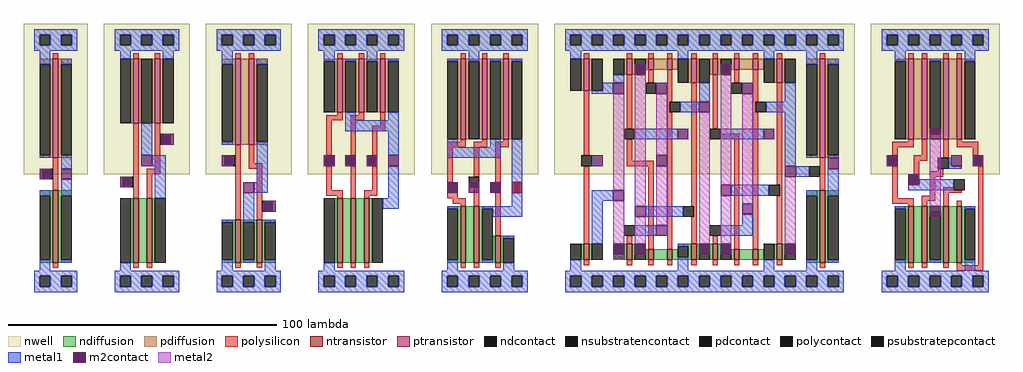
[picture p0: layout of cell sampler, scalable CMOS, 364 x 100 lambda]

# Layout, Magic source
magic
tech scmos
use inv_4x  inv_4x_0
transform 1 0 0 0 1 4
box -6 -4 18 96
use nand2_2x  nand2_2x_0
transform 1 0 30 0 1 4
box -6 -4 26 96
use nor2_2x  nor2_2x_0
transform 1 0 68 0 1 4
box -6 -4 26 96
use nand3_1_5x  nand3_1_5x_0
transform 1 0 106 0 1 4
box -6 -4 34 96
use a2o1i_1_5x  a2o1i_1_5x_0
transform 1 0 150 0 1 4
box -4 -4 36 96
use flop_dp_4x  flop_dp_4x_0
transform 1 0 158 0 1 4
box 34 -4 146 96
use mux2i_dp_1_5x  mux2i_dp_1_5x_0
transform 1 0 316 0 1 4
box -6 -4 42 96
<< end >>

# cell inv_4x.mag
magic
tech scmos
<< nwell >>
rect -6 40 18 96
<< ntransistor >>
rect 5 7 7 34
<< ptransistor >>
rect 5 46 7 83
<< ndiffusion >>
rect 0 32 5 34
rect 4 8 5 32
rect 0 7 5 8
rect 7 32 12 34
rect 7 8 8 32
rect 7 7 12 8
<< pdiffusion >>
rect 0 81 5 83
rect 4 47 5 81
rect 0 46 5 47
rect 7 81 12 83
rect 7 47 8 81
rect 7 46 12 47
<< ndcontact >>
rect 0 8 4 32
rect 8 8 12 32
<< pdcontact >>
rect 0 47 4 81
rect 8 47 12 81
<< psubstratepcontact >>
rect 0 -2 4 2
rect 8 -2 12 2
<< nsubstratencontact >>
rect 0 88 4 92
rect 8 88 12 92
<< polysilicon >>
rect 5 83 7 85
rect 5 34 7 46
rect 5 5 7 7
<< polycontact >>
rect 1 38 5 42
<< metal1 >>
rect -2 92 14 94
rect -2 88 0 92
rect 4 88 8 92
rect 12 88 14 92
rect -2 86 14 88
rect 0 81 4 86
rect 0 46 4 47
rect 8 81 12 83
rect 8 42 12 47
rect 0 32 4 34
rect 0 4 4 8
rect 8 32 12 38
rect 8 7 12 8
rect -2 2 14 4
rect -2 -2 0 2
rect 4 -2 8 2
rect 12 -2 14 2
rect -2 -4 14 -2
<< m2contact >>
rect 0 38 1 42
rect 1 38 4 42
rect 8 38 12 42
<< labels >>
rlabel m2contact 10 40 10 40 1 y
rlabel m2contact 2 40 2 40 1 a
rlabel metal1 -1 0 -1 0 3 Gnd!
rlabel metal1 -1 90 -1 90 3 Vdd!
<< end >>

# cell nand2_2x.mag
magic
tech scmos
<< nwell >>
rect -6 40 26 96
<< ntransistor >>
rect 5 7 7 31
rect 10 7 12 31
<< ptransistor >>
rect 5 59 7 83
rect 13 59 15 83
<< ndiffusion >>
rect 4 7 5 31
rect 7 7 10 31
rect 12 7 13 31
<< pdiffusion >>
rect 4 59 5 83
rect 7 59 8 83
rect 12 59 13 83
rect 15 59 16 83
<< ndcontact >>
rect 0 7 4 31
rect 13 7 17 31
<< pdcontact >>
rect 0 59 4 83
rect 8 59 12 83
rect 16 59 20 83
<< psubstratepcontact >>
rect 0 -2 4 2
rect 8 -2 12 2
rect 16 -2 20 2
<< nsubstratencontact >>
rect 0 88 4 92
rect 8 88 12 92
rect 16 88 20 92
<< polysilicon >>
rect 5 83 7 85
rect 13 83 15 85
rect 5 31 7 59
rect 13 42 15 59
rect 10 40 15 42
rect 10 31 12 40
rect 5 5 7 7
rect 10 5 12 7
<< polycontact >>
rect 1 35 5 39
rect 15 51 19 55
<< metal1 >>
rect -2 92 22 94
rect -2 88 0 92
rect 4 88 8 92
rect 12 88 16 92
rect 20 88 22 92
rect -2 86 22 88
rect 0 83 4 86
rect 16 83 20 86
rect 8 47 12 59
rect 12 43 17 47
rect 13 31 17 43
rect 0 4 4 7
rect -2 2 22 4
rect -2 -2 0 2
rect 4 -2 8 2
rect 12 -2 16 2
rect 20 -2 22 2
rect -2 -4 22 -2
<< m2contact >>
rect 16 51 19 55
rect 19 51 20 55
rect 8 43 12 47
rect 0 35 1 39
rect 1 35 4 39
<< labels >>
rlabel m2contact 1 37 1 37 1 a
rlabel m2contact 10 45 10 45 1 y
rlabel m2contact 18 53 18 53 1 b
rlabel metal1 -1 90 -1 90 3 Vdd!
rlabel metal1 -1 0 -1 0 2 Gnd!
<< end >>

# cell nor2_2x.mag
magic
tech scmos
<< nwell >>
rect -6 40 26 96
<< ntransistor >>
rect 5 7 7 23
rect 13 7 15 23
<< ptransistor >>
rect 5 51 7 83
rect 10 51 12 83
<< ndiffusion >>
rect 0 22 5 23
rect 4 8 5 22
rect 0 7 5 8
rect 7 22 13 23
rect 7 8 8 22
rect 12 8 13 22
rect 7 7 13 8
rect 15 22 20 23
rect 15 8 16 22
rect 15 7 20 8
<< pdiffusion >>
rect 0 81 5 83
rect 4 52 5 81
rect 0 51 5 52
rect 7 51 10 83
rect 12 81 17 83
rect 12 52 13 81
rect 12 51 17 52
<< ndcontact >>
rect 0 8 4 22
rect 8 8 12 22
rect 16 8 20 22
<< pdcontact >>
rect 0 52 4 81
rect 13 52 17 81
<< psubstratepcontact >>
rect 0 -2 4 2
rect 8 -2 12 2
rect 16 -2 20 2
<< nsubstratencontact >>
rect 0 88 4 92
rect 8 88 12 92
rect 16 88 20 92
<< polysilicon >>
rect 5 83 7 85
rect 10 83 12 85
rect 5 23 7 51
rect 10 44 12 51
rect 10 42 15 44
rect 13 23 15 42
rect 5 5 7 7
rect 13 5 15 7
<< polycontact >>
rect 1 43 5 47
rect 15 26 19 30
<< metal1 >>
rect -2 92 22 94
rect -2 88 0 92
rect 4 88 8 92
rect 12 88 16 92
rect 20 88 22 92
rect -2 86 22 88
rect 0 81 4 86
rect 0 51 4 52
rect 13 81 17 83
rect 13 37 17 52
rect 12 33 17 37
rect 0 22 4 23
rect 0 4 4 8
rect 8 22 12 33
rect 8 7 12 8
rect 16 22 20 23
rect 16 4 20 8
rect -2 2 22 4
rect -2 -2 0 2
rect 4 -2 8 2
rect 12 -2 16 2
rect 20 -2 22 2
rect -2 -4 22 -2
<< m2contact >>
rect 0 43 1 47
rect 1 43 4 47
rect 8 33 12 37
rect 16 26 19 30
rect 19 26 20 30
<< labels >>
rlabel metal1 -1 0 -1 0 2 Gnd!
rlabel metal1 -1 90 -1 90 3 Vdd!
rlabel m2contact 1 45 1 45 1 a
rlabel m2contact 10 35 10 35 1 y
rlabel m2contact 18 28 18 28 1 b
<< end >>

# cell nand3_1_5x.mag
magic
tech scmos
<< nwell >>
rect -6 40 34 96
<< ntransistor >>
rect 5 7 7 31
rect 10 7 12 31
rect 15 7 17 31
<< ptransistor >>
rect 5 63 7 83
rect 13 63 15 83
rect 21 63 23 83
<< ndiffusion >>
rect 4 7 5 31
rect 7 7 10 31
rect 12 7 15 31
rect 17 7 18 31
<< pdiffusion >>
rect 0 82 5 83
rect 4 63 5 82
rect 7 82 13 83
rect 7 63 8 82
rect 12 63 13 82
rect 15 82 21 83
rect 15 63 16 82
rect 20 63 21 82
rect 23 82 28 83
rect 23 63 24 82
<< ndcontact >>
rect 0 7 4 31
rect 18 7 22 31
<< pdcontact >>
rect 0 63 4 82
rect 8 63 12 82
rect 16 63 20 82
rect 24 63 28 82
<< psubstratepcontact >>
rect 0 -2 4 2
rect 8 -2 12 2
rect 16 -2 20 2
rect 24 -2 28 2
<< nsubstratencontact >>
rect 0 88 4 92
rect 8 88 12 92
rect 16 88 20 92
rect 24 88 28 92
<< polysilicon >>
rect 5 83 7 85
rect 13 83 15 85
rect 21 83 23 85
rect 5 62 7 63
rect 13 62 15 63
rect 1 60 7 62
rect 10 60 15 62
rect 1 47 3 60
rect 10 47 12 60
rect 21 58 23 63
rect 18 56 23 58
rect 18 47 20 56
rect 1 34 3 43
rect 1 32 7 34
rect 5 31 7 32
rect 10 31 12 43
rect 18 34 20 43
rect 15 32 20 34
rect 15 31 17 32
rect 5 5 7 7
rect 10 5 12 7
rect 15 5 17 7
<< polycontact >>
rect 0 43 4 47
rect 8 43 12 47
rect 16 43 20 47
<< metal1 >>
rect -2 92 30 94
rect -2 88 0 92
rect 4 88 8 92
rect 12 88 16 92
rect 20 88 24 92
rect 28 88 30 92
rect -2 86 30 88
rect 0 82 4 86
rect 8 82 12 83
rect 16 82 20 86
rect 24 82 28 83
rect 8 60 12 63
rect 24 60 28 63
rect 8 56 28 60
rect 24 47 28 56
rect 24 31 28 43
rect 22 27 28 31
rect 0 4 4 7
rect -2 2 30 4
rect -2 -2 0 2
rect 4 -2 8 2
rect 12 -2 16 2
rect 20 -2 24 2
rect 28 -2 30 2
rect -2 -4 30 -2
<< m2contact >>
rect 0 43 4 47
rect 8 43 12 47
rect 16 43 20 47
rect 24 43 28 47
<< labels >>
rlabel m2contact 2 45 2 45 1 a
rlabel m2contact 10 45 10 45 1 b
rlabel m2contact 18 45 18 45 1 c
rlabel m2contact 26 45 26 45 1 y
rlabel metal1 -1 90 -1 90 3 Vdd!
rlabel metal1 -1 0 -1 0 3 Gnd!
<< end >>

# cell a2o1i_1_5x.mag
magic
tech scmos
<< nwell >>
rect -4 40 36 96
<< ntransistor >>
rect 7 7 9 28
rect 12 7 14 28
rect 20 7 22 17
<< ptransistor >>
rect 7 53 9 83
rect 15 53 17 83
rect 23 53 25 83
<< ndiffusion >>
rect 2 27 7 28
rect 6 8 7 27
rect 2 7 7 8
rect 9 7 12 28
rect 14 27 19 28
rect 14 8 15 27
rect 19 8 20 17
rect 14 7 20 8
rect 22 16 27 17
rect 22 7 23 16
<< pdiffusion >>
rect 2 82 7 83
rect 6 53 7 82
rect 9 82 15 83
rect 9 53 10 82
rect 14 53 15 82
rect 17 82 23 83
rect 17 53 18 82
rect 22 53 23 82
rect 25 82 30 83
rect 25 53 26 82
<< ndcontact >>
rect 2 8 6 27
rect 15 8 19 27
rect 23 7 27 16
<< pdcontact >>
rect 2 53 6 82
rect 10 53 14 82
rect 18 53 22 82
rect 26 53 30 82
<< psubstratepcontact >>
rect 2 -2 6 2
rect 10 -2 14 2
rect 18 -2 22 2
rect 26 -2 30 2
<< nsubstratencontact >>
rect 2 88 6 92
rect 10 88 14 92
rect 18 88 22 92
rect 26 88 30 92
<< polysilicon >>
rect 7 83 9 85
rect 15 83 17 85
rect 23 83 25 85
rect 7 52 9 53
rect 15 52 17 53
rect 23 52 25 53
rect 2 50 9 52
rect 12 50 17 52
rect 20 50 25 52
rect 2 37 4 50
rect 12 39 14 50
rect 20 37 22 50
rect 2 31 6 33
rect 4 29 9 31
rect 7 28 9 29
rect 12 28 14 35
rect 26 33 30 37
rect 20 17 22 33
rect 7 5 9 7
rect 12 5 14 7
rect 20 5 22 7
<< polycontact >>
rect 2 33 6 37
rect 10 35 14 39
rect 18 33 22 37
<< metal1 >>
rect 0 92 32 94
rect 0 88 2 92
rect 6 88 10 92
rect 14 88 18 92
rect 22 88 26 92
rect 30 88 32 92
rect 0 86 32 88
rect 2 82 6 83
rect 10 82 14 86
rect 18 82 22 83
rect 2 50 6 53
rect 18 50 22 53
rect 2 46 22 50
rect 26 82 30 83
rect 26 37 30 53
rect 26 28 30 33
rect 2 27 6 28
rect 2 4 6 8
rect 15 27 30 28
rect 19 24 30 27
rect 15 7 19 8
rect 23 16 27 17
rect 23 4 27 7
rect 0 2 32 4
rect 0 -2 2 2
rect 6 -2 10 2
rect 14 -2 18 2
rect 22 -2 26 2
rect 30 -2 32 2
rect 0 -4 32 -2
<< m2contact >>
rect 2 33 6 37
rect 10 35 14 37
rect 10 33 14 35
rect 18 33 22 37
rect 26 33 30 37
<< labels >>
rlabel m2contact 4 35 4 35 1 a
rlabel m2contact 12 35 12 35 1 b
rlabel m2contact 20 35 20 35 1 c
rlabel m2contact 28 35 28 35 1 y
rlabel metal1 1 0 1 0 2 Gnd!
rlabel metal1 1 90 1 90 3 Vdd!
<< end >>

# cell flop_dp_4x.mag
magic
tech scmos
<< nwell >>
rect 34 40 146 96
<< ntransistor >>
rect 45 8 47 14
rect 61 8 63 14
rect 69 8 71 12
rect 76 8 78 12
rect 85 8 87 14
rect 93 8 95 14
rect 101 8 103 12
rect 108 8 110 12
rect 117 8 119 14
rect 133 7 135 34
<< ptransistor >>
rect 45 71 47 83
rect 61 77 63 83
rect 69 79 71 83
rect 76 79 78 83
rect 85 74 87 83
rect 93 77 95 83
rect 101 79 103 83
rect 108 79 110 83
rect 117 74 119 83
rect 133 46 135 83
<< ndiffusion >>
rect 44 8 45 14
rect 47 8 48 14
rect 60 8 61 14
rect 63 8 64 14
rect 80 13 85 14
rect 68 8 69 12
rect 71 8 76 12
rect 78 9 80 12
rect 84 9 85 13
rect 78 8 85 9
rect 87 8 88 14
rect 92 8 93 14
rect 95 8 96 14
rect 128 32 133 34
rect 100 8 101 12
rect 103 8 108 12
rect 110 8 112 12
rect 116 8 117 14
rect 119 8 120 14
rect 132 8 133 32
rect 128 7 133 8
rect 135 32 140 34
rect 135 8 136 32
rect 135 7 140 8
<< pdiffusion >>
rect 44 71 45 83
rect 47 71 48 83
rect 60 77 61 83
rect 63 77 64 83
rect 68 79 69 83
rect 71 79 76 83
rect 78 79 80 83
rect 84 74 85 83
rect 87 74 88 83
rect 92 77 93 83
rect 95 77 96 83
rect 100 79 101 83
rect 103 79 108 83
rect 110 79 112 83
rect 116 74 117 83
rect 119 74 120 83
rect 128 81 133 83
rect 132 47 133 81
rect 128 46 133 47
rect 135 81 140 83
rect 135 47 136 81
rect 135 46 140 47
<< ndcontact >>
rect 40 8 44 14
rect 48 8 52 14
rect 56 8 60 14
rect 64 8 68 14
rect 80 9 84 13
rect 88 8 92 14
rect 96 8 100 14
rect 112 8 116 14
rect 120 8 124 14
rect 128 8 132 32
rect 136 8 140 32
<< pdcontact >>
rect 40 71 44 83
rect 48 71 52 83
rect 56 77 60 83
rect 64 77 68 83
rect 80 74 84 83
rect 88 74 92 83
rect 96 77 100 83
rect 112 74 116 83
rect 120 74 124 83
rect 128 47 132 81
rect 136 47 140 81
<< psubstratepcontact >>
rect 40 -2 44 2
rect 48 -2 52 2
rect 56 -2 60 2
rect 64 -2 68 2
rect 72 -2 76 2
rect 80 -2 84 2
rect 88 -2 92 2
rect 96 -2 100 2
rect 104 -2 108 2
rect 112 -2 116 2
rect 120 -2 124 2
rect 128 -2 132 2
rect 136 -2 140 2
<< nsubstratencontact >>
rect 40 88 44 92
rect 48 88 52 92
rect 56 88 60 92
rect 64 88 68 92
rect 72 88 76 92
rect 80 88 84 92
rect 88 88 92 92
rect 96 88 100 92
rect 104 88 108 92
rect 112 88 116 92
rect 120 88 124 92
rect 128 88 132 92
rect 136 88 140 92
<< polysilicon >>
rect 45 83 47 85
rect 61 83 63 85
rect 69 83 71 85
rect 76 83 78 85
rect 85 83 87 85
rect 93 83 95 85
rect 101 83 103 85
rect 108 83 110 85
rect 117 83 119 85
rect 133 83 135 85
rect 45 47 47 71
rect 61 57 63 77
rect 69 74 71 79
rect 76 67 78 79
rect 76 63 77 67
rect 61 45 63 53
rect 61 43 71 45
rect 45 14 47 43
rect 61 14 63 17
rect 69 12 71 43
rect 76 12 78 63
rect 85 28 87 74
rect 93 57 95 77
rect 101 74 103 79
rect 108 67 110 79
rect 108 63 109 67
rect 96 53 103 55
rect 86 24 87 28
rect 85 14 87 24
rect 93 14 95 17
rect 101 12 103 53
rect 108 12 110 63
rect 117 36 119 74
rect 118 32 119 36
rect 133 34 135 46
rect 117 14 119 32
rect 45 6 47 8
rect 61 6 63 8
rect 69 6 71 8
rect 76 6 78 8
rect 85 6 87 8
rect 93 6 95 8
rect 101 6 103 8
rect 108 6 110 8
rect 117 6 119 8
rect 133 5 135 7
<< polycontact >>
rect 68 70 72 74
rect 77 63 81 67
rect 60 53 64 57
rect 44 43 48 47
rect 60 17 64 21
rect 100 70 104 74
rect 109 63 113 67
rect 92 53 96 57
rect 82 24 86 28
rect 92 17 96 21
rect 129 39 133 43
rect 114 32 118 36
<< metal1 >>
rect 38 92 142 94
rect 38 88 40 92
rect 44 88 48 92
rect 52 88 56 92
rect 60 88 64 92
rect 68 88 72 92
rect 76 88 80 92
rect 84 88 88 92
rect 92 88 96 92
rect 100 88 104 92
rect 108 88 112 92
rect 116 88 120 92
rect 124 88 128 92
rect 132 88 136 92
rect 140 88 142 92
rect 38 86 142 88
rect 40 83 44 86
rect 80 83 84 86
rect 112 83 116 86
rect 56 74 60 77
rect 52 71 56 74
rect 48 70 56 71
rect 88 67 92 74
rect 120 67 124 74
rect 81 63 88 67
rect 113 63 124 67
rect 64 53 80 57
rect 96 53 112 57
rect 120 43 124 63
rect 128 81 132 86
rect 128 46 132 47
rect 136 81 140 83
rect 136 46 140 47
rect 124 39 129 43
rect 48 30 56 34
rect 100 32 114 36
rect 128 32 132 34
rect 48 14 52 30
rect 68 24 82 28
rect 104 21 108 25
rect 64 17 72 21
rect 96 17 108 21
rect 80 13 84 14
rect 40 4 44 8
rect 80 4 84 9
rect 112 4 116 8
rect 128 4 132 8
rect 136 32 140 42
rect 136 7 140 8
rect 38 2 142 4
rect 38 -2 40 2
rect 44 -2 48 2
rect 52 -2 56 2
rect 60 -2 64 2
rect 68 -2 72 2
rect 76 -2 80 2
rect 84 -2 88 2
rect 92 -2 96 2
rect 100 -2 104 2
rect 108 -2 112 2
rect 116 -2 120 2
rect 124 -2 128 2
rect 132 -2 136 2
rect 140 -2 142 2
rect 38 -4 142 -2
<< m2contact >>
rect 64 77 68 81
rect 96 77 100 81
rect 56 70 60 74
rect 72 70 76 74
rect 104 70 108 74
rect 88 63 92 67
rect 80 53 84 57
rect 112 53 116 57
rect 48 43 52 47
rect 72 43 76 47
rect 120 39 124 43
rect 136 42 140 46
rect 56 30 60 34
rect 96 32 100 36
rect 64 24 68 28
rect 104 25 108 29
rect 72 17 76 21
rect 56 10 60 14
rect 64 10 68 14
rect 88 10 92 14
rect 96 10 100 14
rect 120 10 124 14
<< metal2 >>
rect 56 34 60 70
rect 56 14 60 30
rect 64 28 68 77
rect 64 14 68 24
rect 72 47 76 70
rect 72 21 76 43
rect 88 14 92 63
rect 96 36 100 77
rect 96 14 100 32
rect 104 29 108 70
rect 120 14 124 39
rect 56 8 60 10
<< labels >>
rlabel metal1 39 0 39 0 2 Gnd!
rlabel metal1 39 90 39 90 3 Vdd!
rlabel m2contact 138 44 138 44 1 q
rlabel m2contact 50 45 50 45 1 d
rlabel m2contact 74 45 74 45 1 ph2
rlabel m2contact 82 55 82 55 1 ph2b
rlabel m2contact 114 55 114 55 1 ph1b
rlabel m2contact 106 27 106 27 1 ph1
<< end >>

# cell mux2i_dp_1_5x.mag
magic
tech scmos
<< nwell >>
rect -6 40 42 96
<< ntransistor >>
rect 8 7 10 28
rect 13 7 15 28
rect 21 7 23 28
rect 26 7 28 28
<< ptransistor >>
rect 8 53 10 83
rect 13 53 15 83
rect 21 53 23 83
rect 26 53 28 83
<< ndiffusion >>
rect 3 27 8 28
rect 7 8 8 27
rect 3 7 8 8
rect 10 7 13 28
rect 15 26 21 28
rect 15 8 16 26
rect 20 8 21 26
rect 15 7 21 8
rect 23 7 26 28
rect 28 27 33 28
rect 28 8 29 27
rect 28 7 33 8
<< pdiffusion >>
rect 3 82 8 83
rect 7 53 8 82
rect 10 53 13 83
rect 15 82 21 83
rect 15 55 16 82
rect 20 55 21 82
rect 15 53 21 55
rect 23 53 26 83
rect 28 82 33 83
rect 28 53 29 82
<< ndcontact >>
rect 3 8 7 27
rect 16 8 20 26
rect 29 8 33 27
<< pdcontact >>
rect 3 53 7 82
rect 16 55 20 82
rect 29 53 33 82
<< psubstratepcontact >>
rect 0 -2 4 2
rect 8 -2 12 2
rect 16 -2 20 2
rect 24 -2 28 2
rect 32 -2 36 2
<< nsubstratencontact >>
rect 0 88 4 92
rect 8 88 12 92
rect 16 88 20 92
rect 24 88 28 92
rect 32 88 36 92
<< polysilicon >>
rect 8 83 10 85
rect 13 83 15 85
rect 21 83 23 85
rect 26 83 28 85
rect 8 52 10 53
rect 2 50 10 52
rect 2 47 4 50
rect 13 47 15 53
rect 2 31 4 43
rect 10 45 15 47
rect 21 46 23 53
rect 26 52 28 53
rect 26 50 34 52
rect 10 40 12 45
rect 32 47 34 50
rect 19 41 21 42
rect 16 39 21 41
rect 16 32 18 39
rect 2 29 10 31
rect 8 28 10 29
rect 13 30 18 32
rect 21 34 25 35
rect 21 33 28 34
rect 13 28 15 30
rect 21 28 23 33
rect 26 28 28 30
rect 8 5 10 7
rect 13 5 15 7
rect 21 5 23 7
rect 26 6 28 7
rect 34 6 36 43
rect 26 4 36 6
<< polycontact >>
rect 0 43 4 47
rect 19 42 23 46
rect 32 43 36 47
rect 8 36 12 40
rect 25 34 29 38
<< metal1 >>
rect -2 92 38 94
rect -2 88 0 92
rect 4 88 8 92
rect 12 88 16 92
rect 20 88 24 92
rect 28 88 32 92
rect 36 88 38 92
rect -2 86 38 88
rect 3 82 7 86
rect 16 82 20 83
rect 29 82 33 86
rect 23 43 24 46
rect 23 42 28 43
rect 12 36 25 38
rect 8 34 25 36
rect 3 27 7 28
rect 3 4 7 8
rect 16 7 20 8
rect 29 27 33 28
rect 29 4 33 8
rect -2 2 38 4
rect -2 -2 0 2
rect 4 -2 8 2
rect 12 -2 16 2
rect 20 -2 24 2
rect 28 -2 32 2
rect 36 -2 38 2
rect -2 -4 38 -2
<< m2contact >>
rect 16 55 20 57
rect 16 53 20 55
rect 0 43 4 47
rect 24 43 28 47
rect 32 43 36 47
rect 8 36 12 40
rect 16 26 20 28
rect 16 24 20 26
<< metal2 >>
rect 16 28 20 53
<< labels >>
rlabel metal1 -1 0 -1 0 2 Gnd!
rlabel metal1 -1 90 -1 90 3 Vdd!
rlabel m2contact 34 45 34 45 1 d0
rlabel m2contact 26 45 26 45 1 s
rlabel m2contact 10 38 10 38 1 sb
rlabel m2contact 2 45 2 45 1 d1
rlabel metal2 18 34 18 34 1 y
<< end >>
